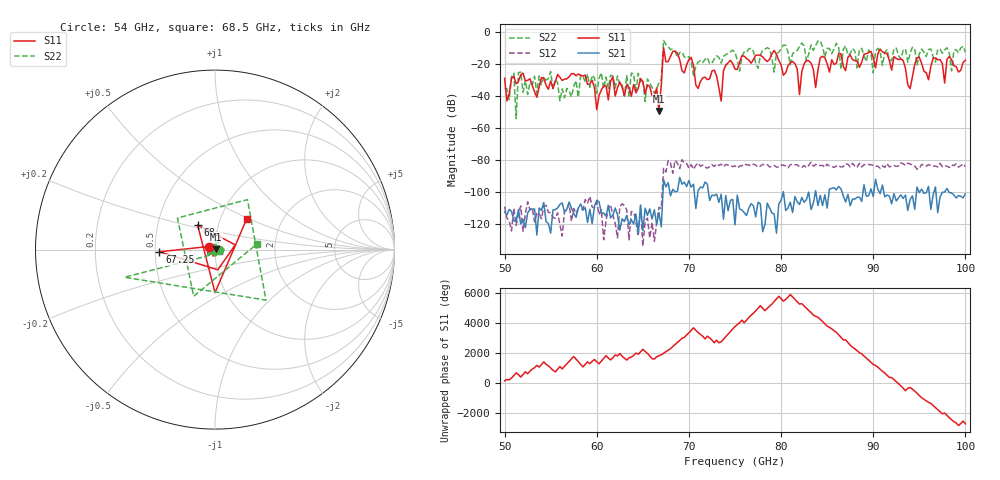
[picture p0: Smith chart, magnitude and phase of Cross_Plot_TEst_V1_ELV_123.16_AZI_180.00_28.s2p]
! 11/25/2026 1:28:37 PM
! C:\ANRITSUVNA\TEMP\TEMP.S2P
! CHANNEL.1
! TR.MEASUREMENT
! RAW.DATA
# HZ S RI R 50.0
! FREQ.HZ  S11RE  S11IM  S21RE  S21IM  S12RE  S12IM  S22RE  S22IM
!; PortSelection: Port_12
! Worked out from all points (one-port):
!   201 points, 50 GHz to 100 GHz, reference 50 ohm
!   lowest |S11| = -49.7 dB at 66.75 GHz (marker M1), VSWR 1.01, Z = 50.3 + j0.073 ohm
!   |S11| at or under -10 dB: start of sweep to end of sweep
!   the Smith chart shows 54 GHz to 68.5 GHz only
!   S11 on the Smith chart (normalised r, x): 54 GHz: 0.93, +0.03; 67.25 GHz: 0.53, -0.01; 68 GHz: 0.80, +0.22; 68.5 GHz: 1.33, +0.49
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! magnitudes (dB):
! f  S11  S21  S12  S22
! 50 GHz  -29.2  -112.6  -109.3  -35.6
! 51 GHz  -27.9  -118.0  -110.3  -26.0
! 51.25 GHz  -32.6  -118.9  -121.0  -54.4
! 51.5 GHz  -31.2  -111.1  -113.9  -25.7
! 54 GHz  -28.7  -111.6  -116.9  -33.2
! 58.5 GHz  -27.7  -111.6  -111.0  -27.6
! 60 GHz  -48.8  -105.3  -106.4  -38.5
! 61.75 GHz  -28.4  -114.5  -114.7  -27.7
! 66.75 GHz  -49.7  -113.0  -109.7  -31.9
! 67.25 GHz  -10.2  -92.5  -85.4  -5.6
! 68 GHz  -15.5  -102.6  -82.1  -11.3
! 68.5 GHz  -12.1  -100.1  -80.4  -12.6
! 73.5 GHz  -43.4  -101.6  -82.8  -19.7
! 73.75 GHz  -24.4  -117.1  -84.4  -15.4
! 75 GHz  -23.5  -120.7  -83.8  -13.0
! 79.25 GHz  -11.8  -113.9  -83.6  -25.3
! 82 GHz  -39.3  -108.0  -84.4  -9.2
! 83.5 GHz  -23.5  -107.1  -84.1  -11.8
! 91.75 GHz  -18.1  -102.8  -84.4  -17.6
! 94 GHz  -35.6  -104.9  -82.7  -13.7
! 94.75 GHz  -16.5  -97.1  -86.0  -21.0
! 100 GHz  -17.9  -101.3  -84.2  -12.8
